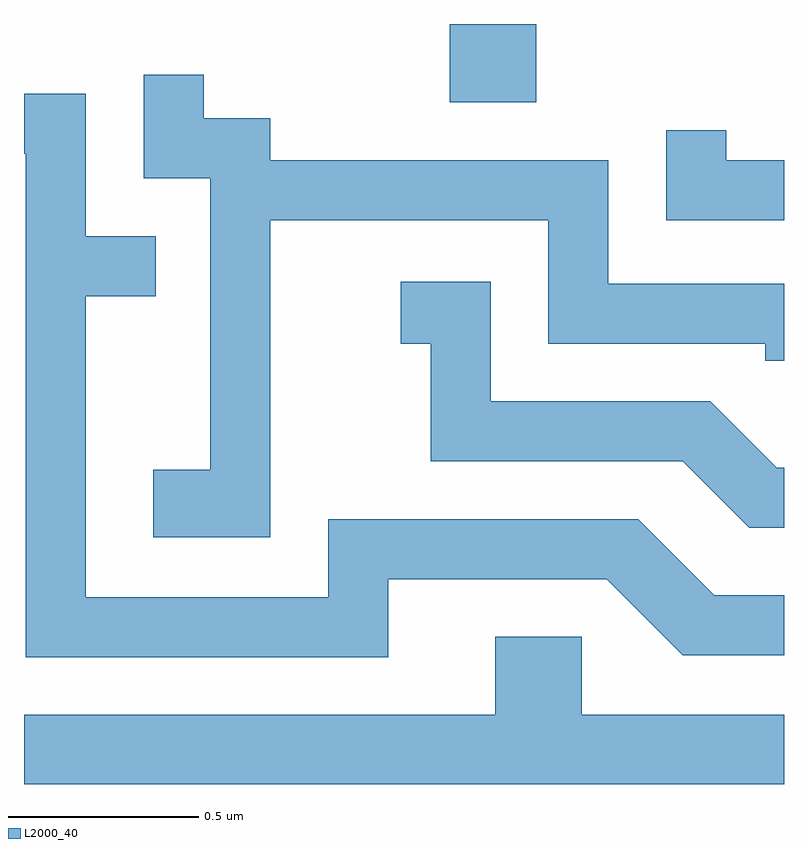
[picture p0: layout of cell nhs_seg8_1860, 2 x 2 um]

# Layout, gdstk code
import gdstk
lib = gdstk.Library(unit=1e-6, precision=1e-09)
def R(c, l, rs):  # rectangles x0, y0, x1, y1
    for r in rs: c.add(gdstk.rectangle(r[:2], r[2:], *l))
def P(c, l, *ps):  # polygons
    for p in ps: c.add(gdstk.Polygon(p, *l))
L2000_40 = (2000, 40)

nhs_seg8_1860 = lib.new_cell('nhs_seg8_1860')
R(nhs_seg8_1860, L2000_40, [(199.731,1887.136,199.959,1887.342)])
P(nhs_seg8_1860, L2000_40, [(199.259,1886.826),(199.991,1886.826),(199.991,1886.501),(200.561,1886.501),(200.561,1886.456),(200.611,1886.456),(200.611,1886.659),(200.149,1886.659),(200.149,1886.984),(199.259,1886.984),(199.259,1887.094),(199.084,1887.094),(199.084,1887.208),(198.926,1887.208),(198.926,1886.936),(199.101,1886.936),(199.101,1886.169),(198.951,1886.169),(198.951,1885.991),(199.259,1885.991)],
  [(199.569,1885.881),(200.144,1885.881),(200.344,1885.681),(200.611,1885.681),(200.611,1885.839),(200.427,1885.839),(200.227,1886.039),(199.411,1886.039),(199.411,1885.834),(198.774,1885.834),(198.774,1886.626),(198.958,1886.626),(198.958,1886.784),(198.774,1886.784),(198.774,1887.159),(198.611,1887.159),(198.611,1887.001),(198.616,1887.001),(198.616,1885.676),(199.569,1885.676)],
  [(200.611,1886.984),(200.459,1886.984),(200.459,1887.063),(200.301,1887.063),(200.301,1886.826),(200.611,1886.826)],
  [(200.611,1886.174),(200.592,1886.174),(200.417,1886.349),(199.839,1886.349),(199.839,1886.664),(199.603,1886.664),(199.603,1886.501),(199.681,1886.501),(199.681,1886.191),(200.344,1886.191),(200.519,1886.016),(200.611,1886.016)],
  [(200.611,1885.524),(200.079,1885.524),(200.079,1885.729),(199.851,1885.729),(199.851,1885.524),(198.611,1885.524),(198.611,1885.342),(200.611,1885.342)])

lib.write_gds('nhs_seg8_1860.gds')
